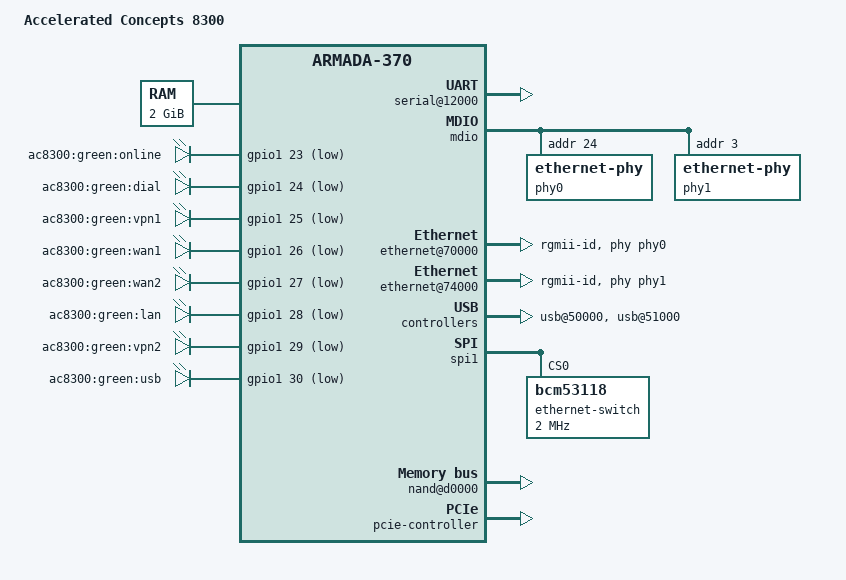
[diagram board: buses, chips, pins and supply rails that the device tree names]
/*
 * Device Tree file for AcceleratedConcepts 8300
 *
 * Greg Ungerer <greg.ungerer@accelecon.com>
 *
 * This file is licensed under the terms of the GNU General Public
 * License version 2.  This program is licensed "as is" without any
 * warranty of any kind, whether express or implied.
 */

/dts-v1/;
/include/ "armada-370.dtsi"

/ {
	model = "Accelerated Concepts 8300";
	compatible = "accelecon,8300", "marvell,armada370", "marvell,armada-370-xp";

	chosen {
		bootargs = "console=ttyS0,115200";
	};

	memory {
		device_type = "memory";
		reg = <0x00000000 0x80000000>; /* 2 GB */
	};

	soc {
		internal-regs {
			serial@12000 {
				clock-frequency = <200000000>;
				status = "okay";
			};
			timer@20300 {
				clock-frequency = <600000000>;
				status = "okay";
			};

			pinctrl {
				online_led_pin: online-led-pin {
					marvell,pins = "mpp55";
					marvell,function = "gpo";
				};

				dial_led_pin: dial-led-pin {
					marvell,pins = "mpp56";
					marvell,function = "gpo";
				};

				vpn1_led_pin: vpn1-led-pin {
					marvell,pins = "mpp57";
					marvell,function = "gpo";
				};

				wan1_led_pin: wan1-led-pin {
					marvell,pins = "mpp58";
					marvell,function = "gpo";
				};

				wan2_led_pin: wan2-led-pin {
					marvell,pins = "mpp59";
					marvell,function = "gpo";
				};

				lan_led_pin: lan-led-pin {
					marvell,pins = "mpp60";
					marvell,function = "gpo";
				};

				vpn2_led_pin: vpn2-led-pin {
					marvell,pins = "mpp61";
					marvell,function = "gpo";
				};

				usb_led_pin: usb-led-pin {
					marvell,pins = "mpp62";
					marvell,function = "gpo";
				};

				usb_enable_pin1: usb-enable-pin1 {
					marvell,pins = "mpp4";
					marvell,function = "gpo";
				};

				usb_enable_pin1: usb-enable-pin1 {
					marvell,pins = "mpp4";
					marvell,function = "gpo";
				};

				usb_enable_pin2: usb-enable-pin2 {
					marvell,pins = "mpp31";
					marvell,function = "gpo";
				};

				usb_enable_pin3: usb-enable-pin3 {
					marvell,pins = "mpp47";
					marvell,function = "gpo";
				};
			};

			gpio_leds {
				compatible = "gpio-leds";
				pinctrl-names = "default";
				pinctrl-0 = <&online_led_pin &dial_led_pin &vpn1_led_pin &wan1_led_pin &wan2_led_pin &lan_led_pin &vpn2_led_pin &usb_led_pin>;

				green_pwr_led {
					label = "ac8300:green:online";
					gpios = <&gpio1 23 1>;
					linux,default-trigger = "online";
				};

				green_dial_led {
					label = "ac8300:green:dial";
					gpios = <&gpio1 24 1>;
					linux,default-trigger = "dial";
				};

				green_vpn1_led {
					label = "ac8300:green:vpn1";
					gpios = <&gpio1 25 1>;
					linux,default-trigger = "vpn1";
				};

				green_wan1_led {
					label = "ac8300:green:wan1";
					gpios = <&gpio1 26 1>;
					linux,default-trigger = "wan1";
				};

				green_wan2_led {
					label = "ac8300:green:wan2";
					gpios = <&gpio1 27 1>;
					linux,default-trigger = "wan2";
				};

				green_lan_led {
					label = "ac8300:green:lan";
					gpios = <&gpio1 28 1>;
					linux,default-trigger = "lan";
				};

				green_vpn2_led {
					label = "ac8300:green:vpn2";
					gpios = <&gpio1 29 1>;
					linux,default-trigger = "vpn2";
				};

				green_usb_led {
					label = "ac8300:green:usb";
					gpios = <&gpio1 30 1>;
					linux,default-trigger = "usb";
				};
			};

			gpio_usb_enables {
				pinctrl-names = "default";
				pinctrl-0 = <&usb_enable_pin1 &usb_enable_pin2 &usb_enable_pin3>;
			};

			mdio {
				phy0: ethernet-phy@0 {
					reg = <24>;
				};

				phy1: ethernet-phy@1 {
					reg = <3>;
				};
			};
			ethernet@70000 {
				status = "okay";
				phy = <&phy0>;
				phy-mode = "rgmii-id";
			};
			ethernet@74000 {
				status = "okay";
				phy = <&phy1>;
				phy-mode = "rgmii-id";
			};

			usb@50000 {
				status = "okay";
			};

			usb@51000 {
				status = "okay";
			};

			spi0: spi@10600 {
				status = "disable";

				spi-flash@0 {
					#address-cells = <1>;
					#size-cells = <1>;
					compatible = "mx25l25635e";
					reg = <0>; /* Chip select 0 */
					spi-max-frequency = <50000000>;
				};
			};

			spi1: spi@10680 {
				pinctrl-0 = <&spi_pins1>;
				pinctrl-names = "default";
				status = "okay";

				ethernet-switch@0 {
					compatible = "bcm53118";
					reg = <0>; /* Chip select 0 */
					spi-max-frequency = <2000000>;
					spi-cpol;
					spi-cpha;
				};
			};

			nand@d0000 {
				status = "okay";

				partition@0 {
					label="u-boot";
					reg = <0x00000000 0x00200000>;
				};
				partition@1 {
					label="u-boot-env";
					reg = <0x00200000 0x00100000>;
				};
				partition@2 {
					label="flash";
					reg = <0x00300000 0x07d00000>;
				};
				partition@3 {
					label="all";
					reg = <0x00000000 0x08000000>;
				};
			};

			pcie-controller {
				status = "okay";

				/* Internal mini-PCIe connector */
				pcie@1,0 {
					/* Port 0, Lane 0 */
					status = "okay";
				};

				pcie@2,0 {
					/* Port 1, Lane 0 */
					status = "okay";
				};
			};
		};
	};
};
